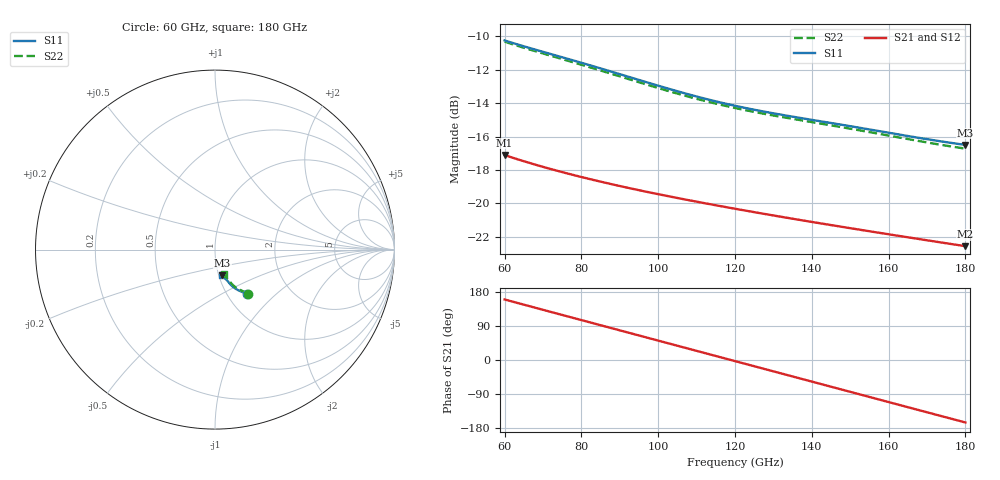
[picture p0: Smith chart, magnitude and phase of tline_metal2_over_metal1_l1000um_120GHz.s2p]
#  GHZ S DB R 50
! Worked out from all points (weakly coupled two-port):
!   101 points, 60 GHz to 180 GHz, reference 50 ohm
!   highest |S21| = -17.10 dB at 60 GHz (marker M1); lowest = -22.6 dB at 180 GHz (marker M2)
!   lowest |S11| = -16.5 dB at 180 GHz (marker M3), VSWR 1.35, Z = 52 - j15.3 ohm
!   |S11| at or under -10 dB: start of sweep to end of sweep
!   |S22| runs from -16.7 to -10.3 dB; largest |S21 - S12| = 1.5e-13
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60  -10.24 -54.0  -17.10 159.7  -17.10 159.7  -10.32 -53.4
66  -10.66 -55.6  -17.54 143.3  -17.54 143.3  -10.75 -54.9
70.8  -10.98 -57.0  -17.86 130.3  -17.86 130.3  -11.08 -56.1
75.6  -11.29 -58.4  -18.16 117.2  -18.16 117.2  -11.40 -57.5
80.4  -11.61 -59.9  -18.44 104.2  -18.44 104.2  -11.73 -58.8
85.2  -11.93 -61.3  -18.71 91.2  -18.71 91.2  -12.06 -60.0
90  -12.26 -62.5  -18.96 78.2  -18.96 78.2  -12.39 -61.2
94.8  -12.59 -63.7  -19.20 65.3  -19.20 65.3  -12.73 -62.2
100.8  -13.01 -64.9  -19.48 49.0  -19.48 49.0  -13.15 -63.2
105.6  -13.32 -65.7  -19.70 36.1  -19.70 36.1  -13.46 -63.9
110.4  -13.62 -66.4  -19.91 23.1  -19.91 23.1  -13.76 -64.4
115.2  -13.90 -66.9  -20.12 10.1  -20.12 10.1  -14.04 -64.9
120  -14.15 -67.4  -20.32 -2.9  -20.32 -2.9  -14.29 -65.2
129.6  -14.59 -68.3  -20.70 -28.9  -20.70 -28.9  -14.72 -66.0
135.6  -14.83 -69.0  -20.94 -45.1  -20.94 -45.1  -14.96 -66.6
140.4  -15.01 -69.6  -21.12 -58.0  -21.12 -58.0  -15.15 -67.2
145.2  -15.19 -70.2  -21.30 -71.0  -21.30 -71.0  -15.33 -67.7
150  -15.38 -70.9  -21.48 -84.0  -21.48 -84.0  -15.53 -68.4
154.8  -15.56 -71.6  -21.66 -96.9  -21.66 -96.9  -15.72 -68.9
160.8  -15.80 -72.3  -21.88 -113.1  -21.88 -113.1  -15.97 -69.6
170.4  -16.17 -73.3  -22.22 -139.0  -22.22 -139.0  -16.36 -70.4
180  -16.50 -74.1  -22.56 -164.9  -22.56 -164.9  -16.72 -70.9
